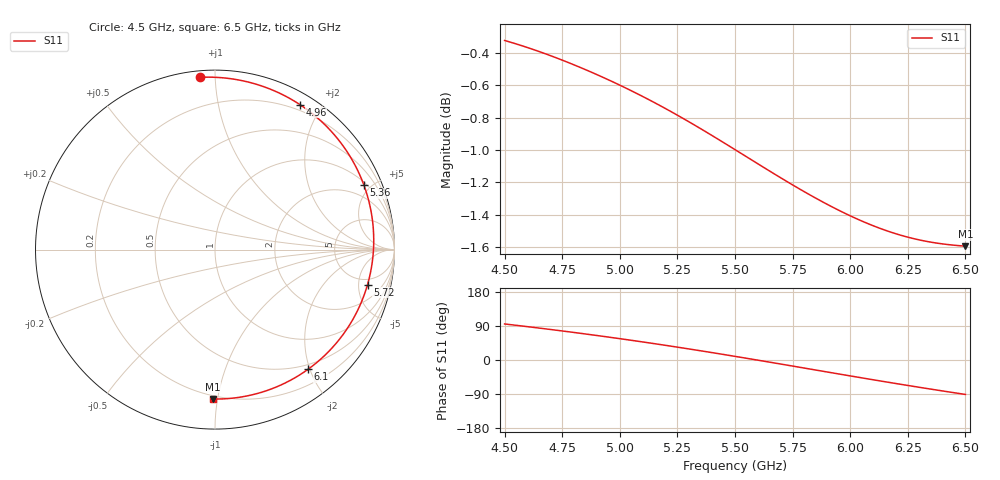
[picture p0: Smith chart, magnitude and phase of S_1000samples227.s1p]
! TOUCHSTONE file generated by CST MICROWAVE STUDIO
! Date and time: Thu Oct 27 10:53:34 2022
! Project name: L.cst
! Parameters = {Di=1.27; Epsilon_r=1.56; InnerDiameter=1.27; Length=2; Lf=10; Lg=60; OuterConductorThickness=0.2921; OuterDiameter=3.6; Wf=3; Wp=41.2; de=1.5; df=6.8; g=0.8; gx=3.63588; gy=3.70143; h=2.34; hf=1.524; px=9.57589; py=10.1284; w=9.7; wx=5.94; wy=6.42695}
! Header version: 2018
! Port assignment regex: !\s*Touchstone port\s*([0-9]+)\s*=\s*(CST MWS port|CST DS port)\s*([0-9]+|Zmin|Zmax)\s*\(\"(.*)\"\)(\s*mode\s*([0-9]+))?.*
! Touchstone port assignment:
! Touchstone port 1 = CST MWS port 1 ("")
# GHz S DB R 50
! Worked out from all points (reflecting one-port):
!   101 points, 4.5 GHz to 6.5 GHz, reference 50 ohm
!   lowest |S11| = -1.6 dB at 6.5 GHz (marker M1), VSWR 10.94, Z = 8.94 - j48.4 ohm
!   phase of S11 starts at 95 deg and turns -186 deg over the sweep
!   S11 on the Smith chart (normalised r, x): 4.5 GHz: 0.03, +0.91; 4.96 GHz: 0.13, +1.74; 5.36 GHz: 1.15, +4.54; 5.72 GHz: 3.97, -6.45; 6.1 GHz: 0.42, -1.97; 6.5 GHz: 0.18, -0.97
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4.5  -0.32 95.1
4.58  -0.36 89.4
4.64  -0.39 85.0
4.76  -0.45 75.9
4.86  -0.51 67.9
4.96  -0.57 59.7
5  -0.60 56.3
5.12  -0.68 45.8
5.18  -0.73 40.4
5.26  -0.79 33.0
5.36  -0.88 23.4
5.44  -0.94 15.6
5.5  -1.00 9.6
5.56  -1.05 3.5
5.62  -1.10 -2.6
5.72  -1.19 -12.9
5.76  -1.22 -17.1
5.82  -1.27 -23.3
5.88  -1.32 -29.5
5.94  -1.36 -35.8
6  -1.41 -42.0
6.1  -1.47 -52.2
6.18  -1.51 -60.2
6.26  -1.54 -68.1
6.32  -1.56 -74.0
6.38  -1.57 -79.7
6.44  -1.59 -85.3
6.5  -1.59 -90.9
